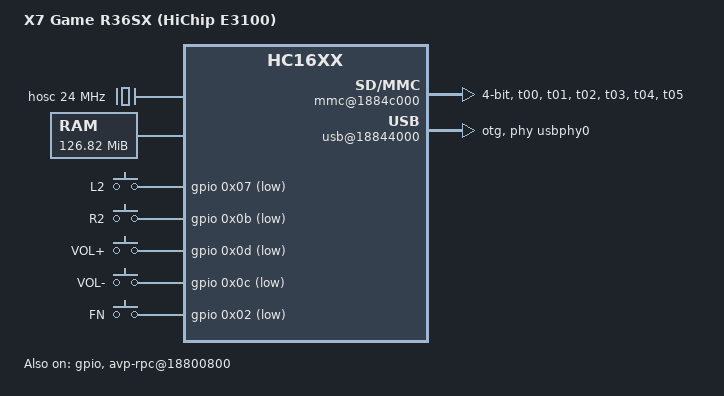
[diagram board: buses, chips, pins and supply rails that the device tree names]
// SPDX-License-Identifier: GPL-2.0
/*
 * X7 Game - R36SX / R36S V2.6 / V2.7 (HiChip E3100, board HC16E3100V20).
 *
 * The board description appended to OUR kernel (the factory bootloader keeps
 * using the stock cubegm/Bubbles.scr for itself). Based on NZEUS Deck's
 * linux-port/kernel-public/board.dts (GPL, https://github.com/nzeuslab/nzeus-deck),
 * which documents every pin below with hardware evidence. X7 Game changes:
 *   - no serial console: L12 is both the UART0 TX line and the Vol- button,
 *     so Vol- is an ordinary key from the start;
 *   - gamepad key codes (BTN_*), no auto-repeat;
 *   - headphone detection polarity (x7,hp-plugged-level) for automatic
 *     speaker/headphone switching;
 *   - the framebuffer takes the screen over at boot (x7,activate-at-probe)
 *     for the framebuffer console;
 *   - bootargs are filled in by mkx7boot.py (@BOOTARGS@) from the SD layout.
 *
 * GPIO flags: 0 = active high, 1 = active low, 7 = open drain, active low.
 * Key codes (include/uapi/linux/input-event-codes.h):
 *   BTN_SOUTH 0x130 BTN_EAST 0x131 BTN_NORTH 0x133 BTN_WEST 0x134
 *   BTN_TL 0x136 BTN_TR 0x137 BTN_TL2 0x138 BTN_TR2 0x139
 *   BTN_SELECT 0x13a BTN_START 0x13b BTN_MODE 0x13c
 *   BTN_DPAD_UP 0x220 DOWN 0x221 LEFT 0x222 RIGHT 0x223
 *   KEY_VOLUMEDOWN 0x72 KEY_VOLUMEUP 0x73
 */
/dts-v1/;

/ {
	/* "nzeus,r36s-e3100" is required by the framebuffer driver */
	compatible = "x7game,r36sx", "nzeus,r36s-e3100", "hichip,hc16xx";
	#address-cells = <1>;
	#size-cells = <1>;
	model = "X7 Game R36SX (HiChip E3100)";

	hosc: external-clock {
		compatible = "fixed-clock";
		#clock-cells = <0>;
		clock-frequency = <24000000>;
	};

	cpus {
		#address-cells = <1>;
		#size-cells = <0>;

		cpu@0 {
			device_type = "cpu";
			compatible = "mips,mips74Kc";
			reg = <0>;
			clocks = <&clk 0x0a>;
			clock-names = "cpu";
		};
	};

	cpuintc: interrupt-controller {
		compatible = "mti,cpu-interrupt-controller";
		interrupt-controller;
		#address-cells = <0>;
		#interrupt-cells = <1>;
	};

	intc: intc@18800020 {
		compatible = "hichip,hc16xx-intc";
		reg = <0x18800020 0x24>;
		interrupt-controller;
		#interrupt-cells = <1>;
		interrupt-parent = <&cpuintc>;
		interrupts = <3 2>;
	};

	clk: clock-controller@18800060 {
		compatible = "hichip,hc16xx-clk";
		reg = <0x18800060 0x20>;
		clocks = <&hosc>;
		clock-names = "hosc";
		#clock-cells = <1>;
	};

	rst: reset-controller@18800080 {
		compatible = "hichip,hc16xx-reset";
		reg = <0x18800080 0x08>;
		#reset-cells = <1>;
	};

	timer@4 {
		compatible = "hichip,hc16xx-timer";
		reg = <0x18818a40 0x10>;
		interrupt-parent = <&intc>;
		interrupts = <0x16>;
		clocks = <&clk 0x2e>;
		clock-names = "counting";
		status = "disabled";
	};

	pinctrl: pin-controller@188004a0 {
		compatible = "hichip,hc16xx-pinctrl";
		reg = <0x188004a0 0x100>;

		pins_bl: pins-bl {
			function = "pwm0";
			pins = "l00";
			drive-strength = <1>;
		};

		pins_sdmmc: pins-sdmmc {
			function = "sdmmc";
			pins = "t00", "t01", "t02", "t03", "t04", "t05";
			drive-strength = <16>;
		};
	};

	pwm: pwm@18818410 {
		compatible = "hichip,hc16xx-pwm";
		reg = <0x18818410 0x24>;
		clocks = <&clk 0x19>;
		#pwm-cells = <3>;
		status = "disabled";
	};

	gpio: gpio-controller@18800044 {
		compatible = "hichip,hc16xx-gpio";
		reg = <0x18800044 0x1c>, <0x188000c4 0x1c>, <0x188000e4 0x1c>, <0x18800344 0x1c>;
		reg-names = "left", "bottom", "right", "top";
		gpio-ranges = <&pinctrl 0 0 0x80>;
		interrupts = <0>;
		interrupt-parent = <&intc>;
		gpio-controller;
		#gpio-cells = <2>;
		interrupt-controller;
		#interrupt-cells = <2>;
		status = "okay";
	};

	/* TF1: the boot card (mmcblk0). The bootloader leaves its pins set up. */
	mmc@1884c000 {
		compatible = "snps,dw-mshc";
		reg = <0x1884c000 0x2000>;
		#address-cells = <1>;
		#size-cells = <0>;
		interrupts = <0x0a>;
		interrupt-parent = <&intc>;
		clocks = <&clk 0x1d>, <&clk 0x0c>;
		clock-names = "biu", "ciu";
		status = "okay";
		pinctrl-0 = <&pins_sdmmc>;
		pinctrl-names = "nzeus-bootloader-pins-kept";
		bus-width = <4>;
		no-1-8-v;
		max-frequency = <20000000>;
		broken-cd;
		card-detect-delay = <200>;
	};

	/* UART0: its TX pin L12 is the Vol- button, so it stays off. */
	serial@18818300 {
		compatible = "ns16550a";
		reg = <0x18818300 0x100>;
		reg-io-width = <1>;
		reg-shift = <0>;
		fifo-size = <16>;
		interrupt-parent = <&intc>;
		interrupts = <0x10>;
		clocks = <&clk 0x29>;
		clock-names = "baud";
		resets = <&rst 0x10>;
		clock-frequency = <1843200>;
		current-speed = <19200>;
		status = "disabled";
	};

	/* The OTG USB-C port (USB serial shell). */
	usb@18844000 {
		compatible = "hichip,hc16xx-musb";
		reg = <0x18844000 0x1000>;
		interrupt-parent = <&intc>;
		interrupts = <0x35 0x34>;
		interrupt-names = "mc", "dma";
		clocks = <&clk 0x4a>;
		resets = <&rst 0x1c>;
		phys = <&usbphy0>;
		dr_mode = "otg";
		status = "okay";
	};

	usb@18850000 {
		compatible = "hichip,hc16xx-musb";
		reg = <0x18850000 0x1000>;
		interrupt-parent = <&intc>;
		interrupts = <0x33 0x32>;
		interrupt-names = "mc", "dma";
		clocks = <&clk 0x4b>;
		resets = <&rst 0x3d>;
		phys = <&usbphy1>;
		dr_mode = "peripheral";
		status = "disabled";
	};

	usbphy0: phy@18845000 {
		compatible = "hichip,hc16xx-usb-phy";
		reg = <0x18845000 0x24>;
		#phy-cells = <0>;
	};

	usbphy1: phy@18845100 {
		compatible = "hichip,hc16xx-usb-phy";
		reg = <0x18845100 0x24>;
		#phy-cells = <0>;
	};

	chosen {
		bootargs = "@BOOTARGS@";
	};

	/* Lower 128 MiB only (the upper half mirrors it); the AVP area is
	 * reserved and released by nzeus-ram once the AVP is proven off. */
	memory {
		device_type = "memory";
		reg = <0x00000000 0x02f91e50>, <0x030bf000 0x04f41000>;
	};

	reserved-memory {
		#address-cells = <1>;
		#size-cells = <1>;
		ranges;

		avp_area: avp-area@30bf000 {
			reg = <0x030bf000 0x04f41000>;
		};
	};

	avp-free-ram {
		compatible = "nzeus,r36s-avp-free-ram";
		memory-region = <&avp_area>;
	};

	/* Face buttons, D-pad, L1/R1, Select/Start: the 12-bit shift register. */
	serializer-keys {
		compatible = "gpio-serializer-keys";
		#address-cells = <1>;
		#size-cells = <0>;
		clock-gpios = <&gpio 0x08 1>;
		data-gpios = <&gpio 0x09 7>;
		num-clocks = <12>;
		poll-interval = <16>;
		status = "okay";

		key-l1     { reg = <0x00>; label = "L1";     linux,code = <0x136>; };
		key-x      { reg = <0x01>; label = "X";      linux,code = <0x133>; };
		key-y      { reg = <0x02>; label = "Y";      linux,code = <0x134>; };
		key-r1     { reg = <0x03>; label = "R1";     linux,code = <0x137>; };
		key-b      { reg = <0x04>; label = "B";      linux,code = <0x130>; };
		key-a      { reg = <0x05>; label = "A";      linux,code = <0x131>; };
		key-select { reg = <0x06>; label = "SELECT"; linux,code = <0x13a>; };
		key-start  { reg = <0x07>; label = "START";  linux,code = <0x13b>; };
		key-up     { reg = <0x08>; label = "UP";     linux,code = <0x220>; };
		key-down   { reg = <0x09>; label = "DOWN";   linux,code = <0x221>; };
		key-left   { reg = <0x0a>; label = "LEFT";   linux,code = <0x222>; };
		key-right  { reg = <0x0b>; label = "RIGHT";  linux,code = <0x223>; };
	};

	/* Buttons on their own pins (all active low), interrupt-driven: the GPIO
	 * controller raises an interrupt on each edge (gpio-hc16xx; the SF3000
	 * device tree uses the same for L2/R2/VOL+), so an idle console no longer
	 * wakes 50 times a second to sample them. gpio-keys debounces in software:
	 * an event goes out 5 ms after the last edge. To go back to sampling,
	 * use compatible = "gpio-keys-polled" with poll-interval = <20> and
	 * debounce-interval = <0> on each key. */
	r36s-keys {
		compatible = "gpio-keys";

		key-l2 {
			label = "L2";
			linux,code = <0x138>;
			gpios = <&gpio 0x07 1>;
			debounce-interval = <5>;
		};

		key-r2 {
			label = "R2";
			linux,code = <0x139>;
			gpios = <&gpio 0x0b 1>;
			debounce-interval = <5>;
		};

		key-volup {
			label = "VOL+";
			linux,code = <0x73>;
			gpios = <&gpio 0x0d 1>;
			debounce-interval = <5>;
		};

		key-voldown {
			label = "VOL-";
			linux,code = <0x72>;
			gpios = <&gpio 0x0c 1>;
			debounce-interval = <5>;
		};

		key-fn {
			label = "FN";
			linux,code = <0x13c>;
			gpios = <&gpio 0x02 1>;
			debounce-interval = <5>;
		};
	};

	backlight {
		compatible = "pwm-backlight";
		pwms = <&pwm 0 20000 0>;
		pinctrl-0 = <&pins_bl>;
		pinctrl-names = "default";
		brightness-levels = <0 10 20 30 40 50 60 70 80 90 100>;
		default-brightness-level = <0>;
		status = "disabled";
	};

	framebuffer@1883a000 {
		compatible = "nzeus,hc16xx-gma-firmware-fb";
		reg = <0x1883a000 0x1000>;
		nzeus,firmware-timing;
		x7,activate-at-probe;
		status = "okay";
	};

	avp-rpc@18800800 {
		compatible = "nzeus,hc16xx-avp-rpc-poll";
		reg = <0x18800800 0x20>, <0x18800820 0x20>, <0x18800840 0x20>, <0x18800860 0x20>,
		      <0x18800880 0x20>, <0x188008a0 0x20>, <0x188008c0 0x20>, <0x188008e0 0x20>,
		      <0x18866800 0x20>, <0x18866820 0x20>, <0x18866840 0x20>, <0x18866860 0x20>,
		      <0x18866880 0x20>, <0x188668a0 0x20>, <0x188668c0 0x20>, <0x188668e0 0x20>,
		      <0x18800040 0x04>;
		status = "okay";
	};

	/* Battery + DC charger (SAR ADC), power button L14, power-off L01, restart. */
	power@188184d0 {
		compatible = "nzeus,r36s-power";
		reg = <0x188184d0 0x08>;
		power-gpios = <&gpio 0x0e 1>;
		poweroff-gpios = <&gpio 0x01 1>;
		nzeus,restart-watchdog = <0x18818500>;
	};

	/* Speaker amp L19 (high = off), headphone detect L15. */
	audio@1880a000 {
		compatible = "nzeus,r36s-audio";
		reg = <0x1880a000 0x100>;
		mute-gpios = <&gpio 0x13 0>;
		hp-detect-gpios = <&gpio 0x0f 0>;
		/* raw L15 level that means "headphones plugged in" (unverified
		 * default; override with headphone_plugged_level in x7game.cfg) */
		x7,hp-plugged-level = <0>;
	};
};
